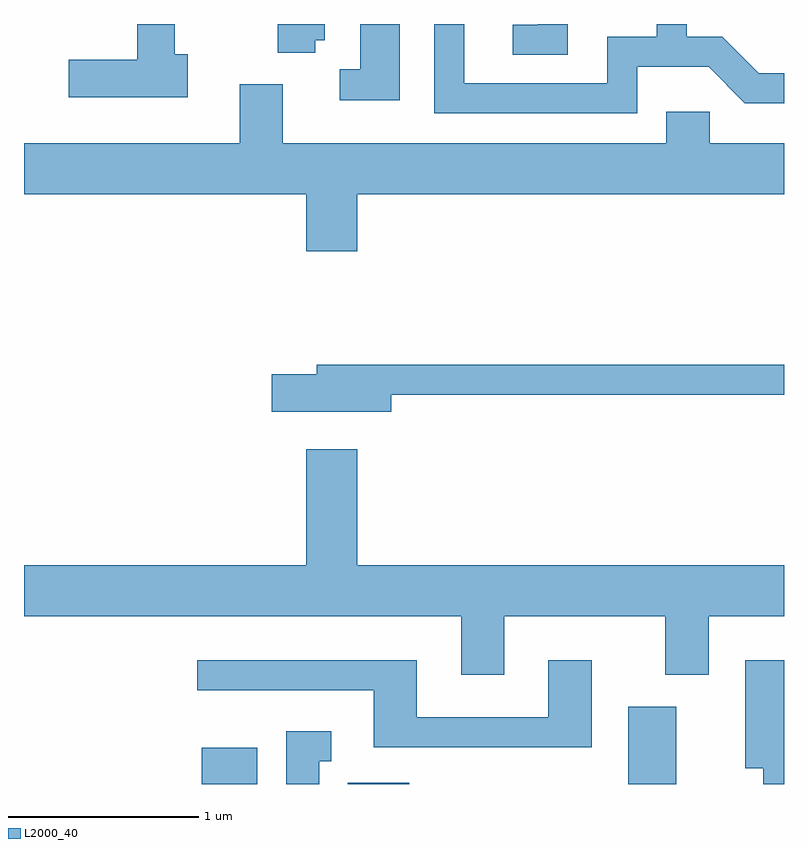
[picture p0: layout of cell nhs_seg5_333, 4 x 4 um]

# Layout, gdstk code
import gdstk
lib = gdstk.Library(unit=1e-6, precision=1e-09)
def R(c, l, rs):  # rectangles x0, y0, x1, y1
    for r in rs: c.add(gdstk.rectangle(r[:2], r[2:], *l))
def P(c, l, *ps):  # polygons
    for p in ps: c.add(gdstk.Polygon(p, *l))
L2000_40 = (2000, 40)

nhs_seg5_333 = lib.new_cell('nhs_seg5_333')
R(nhs_seg5_333, L2000_40, [(194.546,1518.072,194.839,1518.264), (195.316,1518.072,195.639,1518.079), (196.791,1518.072,197.044,1518.479)])
P(nhs_seg5_333, L2000_40, [(195.144,1521.986),(195.194,1521.986),(195.194,1522.072),(194.946,1522.072),(194.946,1521.921),(195.144,1521.921)],
  [(195.589,1522.072),(195.381,1522.072),(195.381,1521.834),(195.273,1521.834),(195.273,1521.671),(195.589,1521.671)],
  [(196.474,1522.072),(196.316,1522.072),(196.316,1522.069),(196.183,1522.069),(196.183,1521.911),(196.474,1521.911)],
  [(196.839,1521.846),(197.214,1521.846),(197.404,1521.656),(197.611,1521.656),(197.611,1521.814),(197.477,1521.814),(197.287,1522.004),(197.099,1522.004),(197.099,1522.072),(196.941,1522.072),(196.941,1522.004),(196.681,1522.004),(196.681,1521.759),(195.929,1521.759),(195.929,1522.072),(195.771,1522.072),(195.771,1521.601),(196.839,1521.601)],
  [(194.474,1521.914),(194.404,1521.914),(194.404,1522.072),(194.206,1522.072),(194.206,1521.884),(193.846,1521.884),(193.846,1521.686),(194.474,1521.686)],
  [(195.364,1521.176),(197.611,1521.176),(197.611,1521.444),(197.219,1521.444),(197.219,1521.609),(196.991,1521.609),(196.991,1521.444),(194.974,1521.444),(194.974,1521.754),(194.746,1521.754),(194.746,1521.444),(193.611,1521.444),(193.611,1521.176),(195.096,1521.176),(195.096,1520.876),(195.364,1520.876)],
  [(195.544,1520.121),(197.611,1520.121),(197.611,1520.279),(195.151,1520.279),(195.151,1520.229),(194.916,1520.229),(194.916,1520.031),(195.544,1520.031)],
  [(196.139,1518.956),(196.986,1518.956),(196.986,1518.646),(197.214,1518.646),(197.214,1518.956),(197.611,1518.956),(197.611,1519.224),(195.364,1519.224),(195.364,1519.834),(195.096,1519.834),(195.096,1519.224),(193.611,1519.224),(193.611,1518.956),(195.911,1518.956),(195.911,1518.646),(196.139,1518.646)],
  [(196.599,1518.724),(196.371,1518.724),(196.371,1518.424),(195.679,1518.424),(195.679,1518.724),(194.523,1518.724),(194.523,1518.566),(195.451,1518.566),(195.451,1518.266),(196.599,1518.266)],
  [(197.611,1518.724),(197.406,1518.724),(197.406,1518.156),(197.501,1518.156),(197.501,1518.072),(197.611,1518.072)],
  [(195.164,1518.191),(195.228,1518.191),(195.228,1518.349),(194.991,1518.349),(194.991,1518.072),(195.164,1518.072)])

lib.write_gds('nhs_seg5_333.gds')
